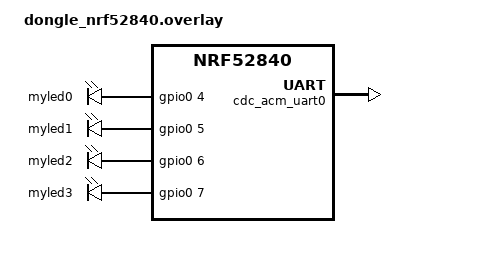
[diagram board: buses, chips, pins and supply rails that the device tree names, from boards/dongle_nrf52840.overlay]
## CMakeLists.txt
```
#
# Copyright (c) 2020 Nordic Semiconductor ASA
#
# SPDX-License-Identifier: LicenseRef-Nordic-5-Clause
#
cmake_minimum_required(VERSION 3.20.0)

find_package(Zephyr REQUIRED HINTS $ENV{ZEPHYR_BASE})

project(thread_coap_client_server_dongle_power_strip)

FILE(GLOB app_sources src/*.c src/client/*.c src/server/*.c src/relays/*.c)
# NORDIC SDK APP START
target_sources(app PRIVATE ${app_sources})

target_include_directories(app PRIVATE
    ${CMAKE_CURRENT_SOURCE_DIR}/src
    ${CMAKE_CURRENT_SOURCE_DIR}/src/relays
)

target_include_directories(app PUBLIC ../thread_dongle_server/interface)
# NORDIC SDK APP END
```

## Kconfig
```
#
# Copyright (c) 2020 Nordic Semiconductor ASA
#
# SPDX-License-Identifier: LicenseRef-Nordic-5-Clause
#

menu "Zephyr Kernel"
source "Kconfig.zephyr"
endmenu

module = COAP_CLIENT
module-str = CoAP client
source "${ZEPHYR_BASE}/subsys/logging/Kconfig.template.log_config"

module = COAP_CLIENT_UTILS
module-str = CoAP client utilities
source "${ZEPHYR_BASE}/subsys/logging/Kconfig.template.log_config"

module = COAP_SERVER
module-str = CoAP server
source "${ZEPHYR_BASE}/subsys/logging/Kconfig.template.log_config"

module = OT_COAP_UTILS
module-str = OpenThread CoAP utils
source "${ZEPHYR_BASE}/subsys/logging/Kconfig.template.log_config"
```

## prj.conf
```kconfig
#
# Copyright (c) 2020 Nordic Semiconductor
#
# SPDX-License-Identifier: LicenseRef-Nordic-5-Clause
#

# nRF board library
CONFIG_DK_LIBRARY=y

# Enable CoAP utils and CoAP protocol
CONFIG_COAP_UTILS=y

# Enable OpenThread CoAP support API
CONFIG_OPENTHREAD_COAP=y 

# Generic networking options
CONFIG_NETWORKING=y

# L2 OpenThread enabling
CONFIG_NET_L2_OPENTHREAD=y

# Network shell
CONFIG_SHELL=y
CONFIG_OPENTHREAD_SHELL=y
CONFIG_SHELL_ARGC_MAX=26
CONFIG_SHELL_CMD_BUFF_SIZE=416

# Network sockets
CONFIG_NET_SOCKETS=y
CONFIG_NET_SOCKETS_POSIX_NAMES=y
CONFIG_NET_SOCKETS_POLL_MAX=4

# Same network Master Key for client and server
CONFIG_OPENTHREAD_NETWORKKEY="00:11:22:33:44:55:66:77:88:99:aa:bb:cc:dd:ee:ff"

CONFIG_MBEDTLS_SHA1_C=n
CONFIG_FPU=y
```

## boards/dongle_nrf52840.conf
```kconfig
#
# Copyright (c) 2016-2023 Makerdiary
#
# SPDX-License-Identifier: Apache-2.0
#

CONFIG_SERIAL=y
CONFIG_CONSOLE=y
CONFIG_UART_CONSOLE=y
CONFIG_UART_LINE_CTRL=y

# USB subsystem configuration
CONFIG_USB_DEVICE_STACK=y
CONFIG_USB_DEVICE_PRODUCT="Thread Power Strip client-server"
CONFIG_USB_DEVICE_INITIALIZE_AT_BOOT=y
```

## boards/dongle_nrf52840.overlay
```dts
/* Copyright (c) 2020 Nordic Semiconductor ASA
 *
 * SPDX-License-Identifier: LicenseRef-Nordic-5-Clause
 */

/ {
    /*
    * In some default configurations within the nRF Connect SDK,
    * e.g. on nRF52840, the chosen zephyr,entropy node is &cryptocell.
    * This devicetree overlay ensures that default is overridden wherever it
    * is set, as this application uses the RNG node for entropy exclusively.
    */
    chosen {
        zephyr,console = &cdc_acm_uart0;
        zephyr,entropy = &rng;
        zephyr,shell-uart = &cdc_acm_uart0;
    };
    aliases {
        relay1 = &myled0;
        relay2 = &myled1;
        relay3 = &myled2;
        relay4 = &myled3;
    };

    leds {
            compatible = "gpio-leds";
            myled0: led_4 {
                    gpios = <&gpio0 4 GPIO_ACTIVE_HIGH>;
            };
            myled1: led_5 {
                gpios = <&gpio0 5 GPIO_ACTIVE_HIGH>;
            };
            myled2: led_6 {
                gpios = <&gpio0 6 GPIO_ACTIVE_HIGH>;
            };
            myled3: led_7 {
                gpios = <&gpio0 7 GPIO_ACTIVE_HIGH>;
            };
    };
};

&adc {
    status = "disabled";
};
&uart1 {
    status = "disabled";
};
&pwm0 {
    status = "disabled";
};
&i2c0 {
    status = "disabled";
};
&spi0 {
    status = "disabled";
};
&spi1 {
    status = "disabled";
};
&spi2 {
    status = "disabled";
};
&spi3 {
    status = "disabled";
};
&qspi {
    status = "disabled";
};

&zephyr_udc0 {
    cdc_acm_uart0: cdc_acm_uart0 {
        compatible = "zephyr,cdc-acm-uart";
    };
};
```

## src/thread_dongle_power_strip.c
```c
/*
 * Copyright (c) 2020 Nordic Semiconductor ASA
 * Copyright (c) 2016-2023 Makerdiary
 *
 * SPDX-License-Identifier: LicenseRef-Nordic-5-Clause
 */

#include <zephyr/kernel.h>
#include <zephyr/drivers/gpio.h>
#include <zephyr/sys/util.h>
#include <dk_buttons_and_leds.h>
#include <zephyr/logging/log.h>
#include <zephyr/device.h>
#include <zephyr/pm/device.h>
#include <zephyr/sys/printk.h>
#include <thread_dongle_interface.h>

#include "client/coap_client_utils.h"
#include "server/coap_server.h"
#include "relays/relays_utils.h"

#define KEEP_ALIVE_MSG_PERIOD_MS   10000
#define REQUEST_STATUS_PERIOD_MS   2000
#define SERVER_RECONNECTION_PERIOD_MS   15000

bool server_mode = false;

static void on_ot_connect(struct k_work *item)
{
    ARG_UNUSED(item);
    dk_set_led_on(OT_CONNECTION_LED);
}

static void on_ot_disconnect(struct k_work *item)
{
    ARG_UNUSED(item);
    dk_set_led_off(OT_CONNECTION_LED);
}

static void on_button_changed(uint32_t button_state, uint32_t has_changed)
{
    uint32_t buttons = button_state & has_changed;
    if (buttons & DK_BTN1_MSK) {
        server_mode = !server_mode;
    }
}

void run_coap_service(){

    // Init thread/coap Server
    coap_thread_server_init();

    // Init thread/coap Client
    coap_client_utils_init(on_ot_connect, on_ot_disconnect); 

    // Set client loop params
    int wait_loops_for_ka = KEEP_ALIVE_MSG_PERIOD_MS / REQUEST_STATUS_PERIOD_MS;
    int loops_count = 0;

    k_msleep(1000);

    while(true){
        if(server_mode) {
            printk("THREAD SERVER [INFO]: Trying to reconnect to server\r\n");
            coap_client_send_power_strip_status_request();
            k_msleep(SERVER_RECONNECTION_PERIOD_MS);    
            if (connected_to_coap_server()){
                printk("THREAD MODE [INFO]: SWITCHING TO CLIENT MODE\r\n");
                server_mode = false;
                update_server_mode(false);
                // Leds off
                dk_set_led_off(COMMANDS_MSG_LED); 
                dk_set_led_off(RESSOURCES_STATUS_MSG_LED); 
                continue;
            }           
        }
        else{
            coap_client_send_power_strip_status_request();
            k_msleep(REQUEST_STATUS_PERIOD_MS);    
            if (!connected_to_coap_server()){
                printk("THREAD MODE [INFO]: SWITCHING TO SERVER MODE\r\n");
                server_mode = true;
                update_server_mode(true);
                // Leds off
                dk_set_led_off(COMMANDS_MSG_LED); 
                dk_set_led_off(RESSOURCES_STATUS_MSG_LED); 
                continue;
            }    
            if (loops_count >=wait_loops_for_ka ){
                coap_client_send_keep_alive();   
                loops_count = 0;
            }         
            loops_count ++; 
        }
        
    }
}

int main(void)
{
    int ret;

    ret = dk_buttons_init(on_button_changed);
    if (ret) {
        printk("BUTTONS [ERROR]: Cannot init buttons (error: %d)", ret);
        return 0;
    }

    ret = dk_leds_init();
    if (ret) {
        printk("LEDS [ERROR]: Cannot init leds, (error: %d)\r\n", ret);
        return 0;
    }    

    ret = init_relays();
    if (ret) {
        printk("RELAYS [ERROR]: Cannot init relays (error: %d)", ret);
        return 0;
    }

    // Init thread / CoAP client
    run_coap_service();

    return 0;
}
```
